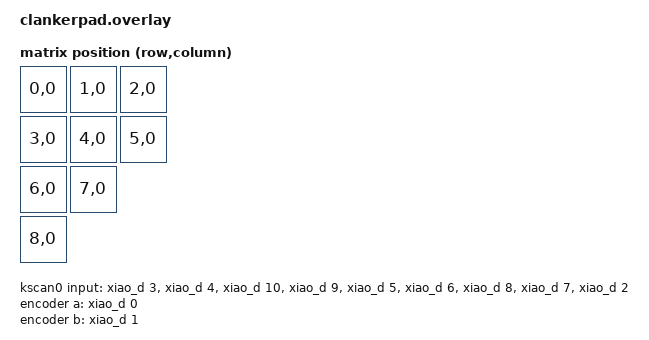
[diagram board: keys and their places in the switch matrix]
#include <dt-bindings/zmk/matrix_transform.h>
#include "clankerpad-layouts.dtsi"

/ {
    chosen {
        zmk,kscan = &kscan0;
        zmk,physical-layout = &default_layout;
        zmk,battery = &vbatt;          // <-- add this line
    };

    vbatt: vbatt {                     // <-- new node, same level as kscan0/encoder/etc
        compatible = "zmk,battery-voltage-divider";
        io-channels = <&adc 7>;
        output-ohms = <2000000>;
        full-ohms = <3000000>;
        power-gpios = <&gpio0 14 GPIO_ACTIVE_LOW>;
    };

    kscan0: kscan0 {
        compatible = "zmk,kscan-gpio-direct";
        wakeup-source;

        input-gpios
            = <&xiao_d 3  (GPIO_ACTIVE_LOW | GPIO_PULL_UP)>
            , <&xiao_d 4  (GPIO_ACTIVE_LOW | GPIO_PULL_UP)>
            , <&xiao_d 10 (GPIO_ACTIVE_LOW | GPIO_PULL_UP)>
            , <&xiao_d 9  (GPIO_ACTIVE_LOW | GPIO_PULL_UP)>
            , <&xiao_d 5  (GPIO_ACTIVE_LOW | GPIO_PULL_UP)>
            , <&xiao_d 6  (GPIO_ACTIVE_LOW | GPIO_PULL_UP)>
            , <&xiao_d 8  (GPIO_ACTIVE_LOW | GPIO_PULL_UP)>
            , <&xiao_d 7  (GPIO_ACTIVE_LOW | GPIO_PULL_UP)>
            , <&xiao_d 2  (GPIO_ACTIVE_LOW | GPIO_PULL_UP)>
            ;
    };

    default_transform: default_transform {
        compatible = "zmk,matrix-transform";
        columns = <1>;
        rows = <9>;
        map = <
            RC(0,0) RC(1,0) RC(2,0)
            RC(3,0) RC(4,0) RC(5,0)
            RC(6,0) RC(7,0)
            RC(8,0)
        >;
    };

    encoder: encoder {
        compatible = "alps,ec11";
        a-gpios = <&xiao_d 0 (GPIO_ACTIVE_HIGH | GPIO_PULL_UP)>;
        b-gpios = <&xiao_d 1 (GPIO_ACTIVE_HIGH | GPIO_PULL_UP)>;
        steps = <80>;
        status = "okay";
    };

    sensors: sensors {
        compatible = "zmk,keymap-sensors";
        sensors = <&encoder>;
        triggers-per-rotation = <20>;
    };
};

&adc {                                 // <-- outside the / { } block
    status = "okay";
};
